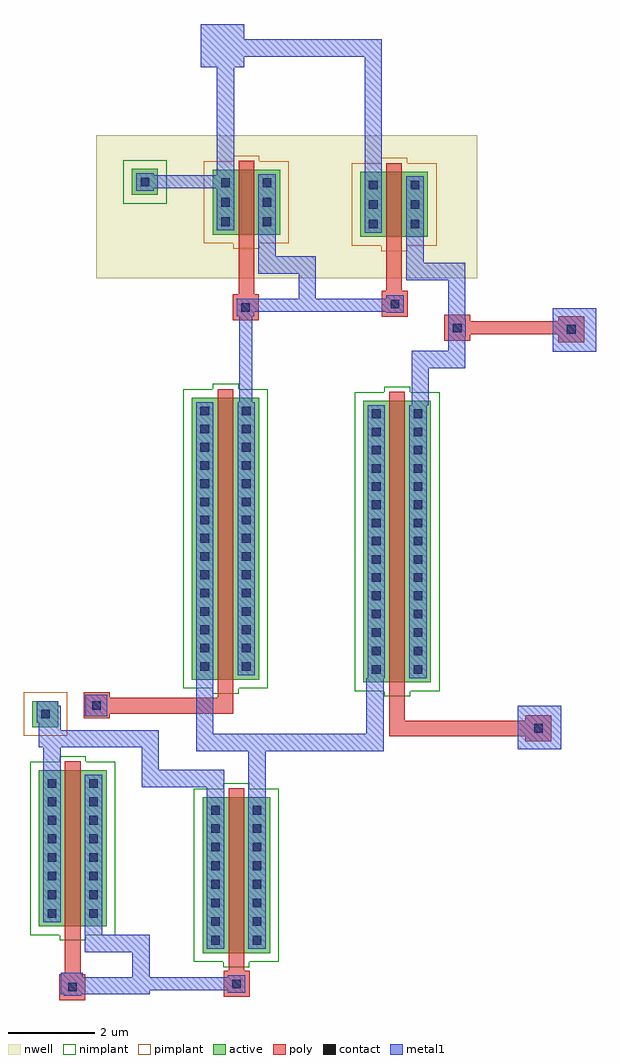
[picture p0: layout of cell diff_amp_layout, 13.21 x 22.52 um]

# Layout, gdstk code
import gdstk
lib = gdstk.Library(unit=1e-6, precision=5e-10)
def R(c, l, rs):  # rectangles x0, y0, x1, y1
    for r in rs: c.add(gdstk.rectangle(r[:2], r[2:], *l))
def A(c, l, x, y, w, h, nx, ny, dx, dy):  # array of equal rectangles
    R(c, l, [(x+i*dx, y+j*dy, x+i*dx+w, y+j*dy+h) for i in range(nx) for j in range(ny)])
active = (1, 0)
nwell = (2, 0)
poly = (3, 0)
nimplant = (4, 0)
pimplant = (5, 0)
contact = (6, 0)
metal1 = (7, 0)

nmos_cdns_787772240430 = lib.new_cell('nmos_CDNS_787772240430')
R(nmos_cdns_787772240430, active, [(-0.6,0,0,6.5), (0,0,0.36,6.5), (0.36,0,0.96,6.5)])
R(nmos_cdns_787772240430, poly, [(0,-0.205,0.36,-0.2), (0,-0.2,0.36,0), (0,0,0.36,6.5), (0,6.5,0.36,6.7), (0,6.7,0.36,6.705)])
R(nmos_cdns_787772240430, nimplant, [(-0.12,-0.325,0.48,-0.2), (-0.8,-0.2,1.16,6.7), (-0.12,6.7,0.48,6.825)])
A(nmos_cdns_787772240430, contact, -0.4, 0.2, 0.2, 0.2, 1, 5, 0, 0.425)
A(nmos_cdns_787772240430, contact, 0.56, 0.2, 0.2, 0.2, 1, 5, 0, 0.425)
A(nmos_cdns_787772240430, contact, -0.4, 2.32, 0.2, 0.2, 1, 10, 0, 0.42)
A(nmos_cdns_787772240430, contact, 0.56, 2.32, 0.2, 0.2, 1, 10, 0, 0.42)
R(nmos_cdns_787772240430, metal1, [(-0.5,0.1,-0.1,6.4), (0.46,0.1,0.86,6.4)])

nmos_cdns_787772240431 = lib.new_cell('nmos_CDNS_787772240431')
R(nmos_cdns_787772240431, active, [(-0.6,0,0,3.6), (0,0,0.36,3.6), (0.36,0,0.96,3.6)])
R(nmos_cdns_787772240431, poly, [(0,-0.205,0.36,-0.2), (0,-0.2,0.36,0), (0,0,0.36,3.6), (0,3.6,0.36,3.8), (0,3.8,0.36,3.805)])
R(nmos_cdns_787772240431, nimplant, [(-0.12,-0.325,0.48,-0.2), (-0.8,-0.2,1.16,3.8), (-0.12,3.8,0.48,3.925)])
A(nmos_cdns_787772240431, contact, -0.4, 0.2, 0.2, 0.2, 1, 6, 0, 0.43)
A(nmos_cdns_787772240431, contact, 0.56, 0.2, 0.2, 0.2, 1, 6, 0, 0.43)
R(nmos_cdns_787772240431, contact, [(-0.4,2.775,-0.2,2.975), (0.56,2.775,0.76,2.975), (-0.4,3.2,-0.2,3.4), (0.56,3.2,0.76,3.4)])
R(nmos_cdns_787772240431, metal1, [(-0.5,0.1,-0.1,3.5), (0.46,0.1,0.86,3.5)])

pmos_cdns_787772240432 = lib.new_cell('pmos_CDNS_787772240432')
R(pmos_cdns_787772240432, active, [(-0.6,0,0,1.5), (0,0,0.36,1.5), (0.36,0,0.96,1.5)])
R(pmos_cdns_787772240432, nwell, [(-1.1,-0.5,1.46,2)])
R(pmos_cdns_787772240432, poly, [(0,-0.205,0.36,-0.2), (0,-0.2,0.36,0), (0,0,0.36,1.5), (0,1.5,0.36,1.7), (0,1.7,0.36,1.705)])
R(pmos_cdns_787772240432, pimplant, [(-0.12,-0.325,0.48,-0.2), (-0.8,-0.2,1.16,1.7), (-0.12,1.7,0.48,1.825)])
A(pmos_cdns_787772240432, contact, -0.4, 0.2, 0.2, 0.2, 1, 3, 0, 0.45)
A(pmos_cdns_787772240432, contact, 0.56, 0.2, 0.2, 0.2, 1, 3, 0, 0.45)
R(pmos_cdns_787772240432, metal1, [(-0.5,0.1,-0.1,1.4), (0.46,0.1,0.86,1.4)])

m1_nwell_cdns_7877722404 = lib.new_cell('M1_NWELL_CDNS_787772240430')
R(m1_nwell_cdns_7877722404, active, [(-0.3,-0.3,0.3,0.3)])
R(m1_nwell_cdns_7877722404, nwell, [(-0.8,-0.8,0.8,0.8)])
R(m1_nwell_cdns_7877722404, nimplant, [(-0.5,-0.5,0.5,0.5)])
R(m1_nwell_cdns_7877722404, contact, [(-0.1,-0.1,0.1,0.1)])
R(m1_nwell_cdns_7877722404, metal1, [(-0.2,-0.2,0.2,0.2)])

m1_poly1_cdns_7877722404 = lib.new_cell('M1_POLY1_CDNS_787772240431')
R(m1_poly1_cdns_7877722404, poly, [(-0.3,-0.3,0.3,0.3)])
R(m1_poly1_cdns_7877722404, contact, [(-0.1,-0.1,0.1,0.1)])
R(m1_poly1_cdns_7877722404, metal1, [(-0.2,-0.2,0.2,0.2)])

m1_psub_cdns_78777224043 = lib.new_cell('M1_PSUB_CDNS_787772240432')
R(m1_psub_cdns_78777224043, active, [(-0.3,-0.3,0.3,0.3)])
R(m1_psub_cdns_78777224043, pimplant, [(-0.5,-0.5,0.5,0.5)])
R(m1_psub_cdns_78777224043, contact, [(-0.1,-0.1,0.1,0.1)])
R(m1_psub_cdns_78777224043, metal1, [(-0.2,-0.2,0.2,0.2)])

diff_amp_layout = lib.new_cell('diff_amp_layout')
R(diff_amp_layout, nwell, [(3.185,17.32,11.975,20.62)])
R(diff_amp_layout, metal1, [(2.365,0.79,2.865,1.29), (12.91,6.45,13.91,7.45), (1.81,7.055,2.31,7.555), (2.93,7.205,3.43,7.705), (13.72,15.62,14.72,16.62), (5.595,22.185,6.595,23.185)])
diff_amp_layout.add(gdstk.FlexPath([(2.16,6.69),(2.05,6.69)], 0.4, ends="extended", simple_path=True, layer=7, datatype=0))  # metal1
diff_amp_layout.add(gdstk.FlexPath([(2.16,7.255),(1.81,7.255)], 0.4, ends=(0.2, 0), simple_path=True, layer=7, datatype=0))  # metal1
diff_amp_layout.add(gdstk.FlexPath([(2.16,6.69),(2.16,7.255)], 0.4, ends="extended", simple_path=True, layer=7, datatype=0))  # metal1
diff_amp_layout.add(gdstk.FlexPath([(2.16,5.86),(2.16,6.69)], 0.4, ends=(0, 0.2), simple_path=True, layer=7, datatype=0))  # metal1
diff_amp_layout.add(gdstk.FlexPath([(2.05,6.69),(2.05,7.055)], 0.4, ends=(0.2, 0), simple_path=True, layer=7, datatype=0))  # metal1
diff_amp_layout.add(gdstk.FlexPath([(4.43,6.69),(2.16,6.69)], 0.4, ends="extended", simple_path=True, layer=7, datatype=0))  # metal1
diff_amp_layout.add(gdstk.FlexPath([(4.43,5.77),(4.43,6.69)], 0.4, ends="extended", simple_path=True, layer=7, datatype=0))  # metal1
diff_amp_layout.add(gdstk.FlexPath([(5.935,5.77),(4.43,5.77)], 0.4, ends="extended", simple_path=True, layer=7, datatype=0))  # metal1
diff_amp_layout.add(gdstk.FlexPath([(5.935,5.24),(5.935,5.77)], 0.4, ends=(0, 0.2), simple_path=True, layer=7, datatype=0))  # metal1
diff_amp_layout.add(gdstk.FlexPath([(4.215,1.03),(4.215,0.99)], 0.3, ends=(0.15, 0.2), simple_path=True, layer=7, datatype=0))  # metal1
diff_amp_layout.add(gdstk.FlexPath([(6.42,1.03),(4.215,1.03)], 0.3, ends=(0, 0.15), simple_path=True, layer=7, datatype=0))  # metal1
diff_amp_layout.add(gdstk.FlexPath([(3.12,2.46),(3.12,1.965)], 0.4, ends=(0, 0.2), simple_path=True, layer=7, datatype=0))  # metal1
diff_amp_layout.add(gdstk.FlexPath([(3.12,1.965),(4.215,1.965)], 0.4, ends="extended", simple_path=True, layer=7, datatype=0))  # metal1
diff_amp_layout.add(gdstk.FlexPath([(2.63,0.99),(2.63,0.96)], 0.4, ends=(0.2, 0), simple_path=True, layer=7, datatype=0))  # metal1
diff_amp_layout.add(gdstk.FlexPath([(4.215,1.965),(4.215,0.99)], 0.4, ends="extended", simple_path=True, layer=7, datatype=0))  # metal1
diff_amp_layout.add(gdstk.FlexPath([(4.215,0.99),(2.63,0.99)], 0.4, ends=(0.15, 0.2), simple_path=True, layer=7, datatype=0))  # metal1
diff_amp_layout.add(gdstk.FlexPath([(5.685,6.6),(6.895,6.6)], 0.4, ends="extended", simple_path=True, layer=7, datatype=0))  # metal1
diff_amp_layout.add(gdstk.FlexPath([(6.895,5.24),(6.895,6.6)], 0.4, ends=(0, 0.2), simple_path=True, layer=7, datatype=0))  # metal1
diff_amp_layout.add(gdstk.FlexPath([(9.615,6.6),(9.615,8.09)], 0.4, ends=(0.2, 0), simple_path=True, layer=7, datatype=0))  # metal1
diff_amp_layout.add(gdstk.FlexPath([(6.895,6.6),(9.615,6.6)], 0.4, ends="extended", simple_path=True, layer=7, datatype=0))  # metal1
diff_amp_layout.add(gdstk.FlexPath([(5.685,8.155),(5.685,6.6)], 0.4, ends=(0, 0.2), simple_path=True, layer=7, datatype=0))  # metal1
diff_amp_layout.add(gdstk.FlexPath([(10.66,15.44),(10.66,14.39)], 0.4, ends=(0.2, 0), simple_path=True, layer=7, datatype=0))  # metal1
diff_amp_layout.add(gdstk.FlexPath([(11.5,15.44),(10.66,15.44)], 0.4, ends="extended", simple_path=True, layer=7, datatype=0))  # metal1
diff_amp_layout.add(gdstk.FlexPath([(11.5,17.475),(11.5,15.44)], 0.4, ends="extended", simple_path=True, layer=7, datatype=0))  # metal1
diff_amp_layout.add(gdstk.FlexPath([(10.535,17.475),(11.5,17.475)], 0.4, ends="extended", simple_path=True, layer=7, datatype=0))  # metal1
diff_amp_layout.add(gdstk.FlexPath([(10.535,18.37),(10.535,17.475)], 0.4, ends=(0, 0.2), simple_path=True, layer=7, datatype=0))  # metal1
diff_amp_layout.add(gdstk.FlexPath([(6.63,16.645),(6.63,14.455)], 0.3, ends="flush", simple_path=True, layer=7, datatype=0))  # metal1
diff_amp_layout.add(gdstk.FlexPath([(6.63,16.695),(8.05,16.695)], 0.3, ends=(0.2, 0.2), simple_path=True, layer=7, datatype=0))  # metal1
diff_amp_layout.add(gdstk.FlexPath([(8.05,17.625),(8.05,16.695)], 0.4, ends=(0.2, 0.15), simple_path=True, layer=7, datatype=0))  # metal1
diff_amp_layout.add(gdstk.FlexPath([(7.125,17.625),(8.05,17.625)], 0.4, ends="extended", simple_path=True, layer=7, datatype=0))  # metal1
diff_amp_layout.add(gdstk.FlexPath([(7.125,18.42),(7.125,17.625)], 0.4, ends=(0, 0.2), simple_path=True, layer=7, datatype=0))  # metal1
diff_amp_layout.add(gdstk.FlexPath([(10.075,16.695),(10.075,16.725)], 0.3, ends=(0.15, 0), simple_path=True, layer=7, datatype=0))  # metal1
diff_amp_layout.add(gdstk.FlexPath([(8.05,16.695),(10.075,16.695)], 0.3, ends=(0.2, 0.15), simple_path=True, layer=7, datatype=0))  # metal1
diff_amp_layout.add(gdstk.FlexPath([(6.63,16.645),(6.63,16.695)], 0.4, ends=(0, 0.15), simple_path=True, layer=7, datatype=0))  # metal1
diff_amp_layout.add(gdstk.FlexPath([(9.575,19.67),(9.575,22.63)], 0.4, ends=(0, 0.2), simple_path=True, layer=7, datatype=0))  # metal1
diff_amp_layout.add(gdstk.FlexPath([(9.575,22.63),(6.595,22.63)], 0.4, ends=(0.2, 0), simple_path=True, layer=7, datatype=0))  # metal1
diff_amp_layout.add(gdstk.FlexPath([(6.165,19.72),(6.165,22.185)], 0.4, ends="flush", simple_path=True, layer=7, datatype=0))  # metal1
diff_amp_layout.add(gdstk.FlexPath([(4.305,19.54),(5.965,19.54)], 0.3, ends="flush", simple_path=True, layer=7, datatype=0))  # metal1
diff_amp_layout.add(gdstk.FlexPath([(14.145,16.17),(11.515,16.17)], 0.3, ends=(0.15, 0), simple_path=True, layer=3, datatype=0))  # poly
diff_amp_layout.add(gdstk.FlexPath([(14.145,16.14),(14.145,16.17)], 0.3, ends=(0, 0.15), simple_path=True, layer=3, datatype=0))  # poly
diff_amp_layout.add(gdstk.FlexPath([(3.19,7.45),(3.19,7.46)], 0.36, ends=(0.18, 0), simple_path=True, layer=3, datatype=0))  # poly
diff_amp_layout.add(gdstk.FlexPath([(6.165,7.45),(3.19,7.45)], 0.36, ends="extended", simple_path=True, layer=3, datatype=0))  # poly
diff_amp_layout.add(gdstk.FlexPath([(6.165,7.85),(6.165,7.45)], 0.36, ends=(0, 0.18), simple_path=True, layer=3, datatype=0))  # poly
diff_amp_layout.add(gdstk.FlexPath([(10.125,6.93),(13.385,6.93)], 0.36, ends=(0.18, 0), simple_path=True, layer=3, datatype=0))  # poly
diff_amp_layout.add(gdstk.FlexPath([(10.125,7.785),(10.125,6.93)], 0.36, ends=(0, 0.18), simple_path=True, layer=3, datatype=0))  # poly
diff_amp_layout.add(gdstk.FlexPath([(6.415,1.03),(6.42,1.03)], 0.36, ends=(0.18, 0), simple_path=True, layer=3, datatype=0))  # poly
diff_amp_layout.add(gdstk.FlexPath([(6.415,1.535),(6.415,1.03)], 0.36, ends=(0, 0.18), simple_path=True, layer=3, datatype=0))  # poly
diff_amp_layout.add(gdstk.FlexPath([(2.64,0.96),(2.64,2.155)], 0.36, ends=(0.18, 0), simple_path=True, layer=3, datatype=0))  # poly
diff_amp_layout.add(gdstk.FlexPath([(2.63,0.96),(2.64,0.96)], 0.36, ends=(0, 0.18), simple_path=True, layer=3, datatype=0))  # poly
diff_amp_layout.add(gdstk.FlexPath([(10.075,16.725),(10.055,16.725)], 0.36, ends=(0, 0.18), simple_path=True, layer=3, datatype=0))  # poly
diff_amp_layout.add(gdstk.FlexPath([(10.055,16.725),(10.055,18.065)], 0.36, ends=(0.18, 0), simple_path=True, layer=3, datatype=0))  # poly
diff_amp_layout.add(gdstk.FlexPath([(6.645,16.645),(6.63,16.645)], 0.36, ends=(0.18, 0), simple_path=True, layer=3, datatype=0))  # poly
diff_amp_layout.add(gdstk.FlexPath([(6.645,18.115),(6.645,16.645)], 0.36, ends=(0, 0.18), simple_path=True, layer=3, datatype=0))  # poly
diff_amp_layout.add(gdstk.Reference(nmos_cdns_787772240430, (9.945,7.99)))
diff_amp_layout.add(gdstk.Reference(nmos_cdns_787772240430, (5.985,8.055)))
diff_amp_layout.add(gdstk.Reference(nmos_cdns_787772240431, (2.46,2.36)))
diff_amp_layout.add(gdstk.Reference(nmos_cdns_787772240431, (6.235,1.74)))
diff_amp_layout.add(gdstk.Reference(pmos_cdns_787772240432, (9.875,18.27)))
diff_amp_layout.add(gdstk.Reference(pmos_cdns_787772240432, (6.465,18.32)))
diff_amp_layout.add(gdstk.Reference(m1_nwell_cdns_7877722404, (4.305,19.54)))
diff_amp_layout.add(gdstk.Reference(m1_poly1_cdns_7877722404, (11.515,16.17)))
diff_amp_layout.add(gdstk.Reference(m1_poly1_cdns_7877722404, (14.145,16.14)))
diff_amp_layout.add(gdstk.Reference(m1_poly1_cdns_7877722404, (3.19,7.46)))
diff_amp_layout.add(gdstk.Reference(m1_poly1_cdns_7877722404, (13.385,6.93)))
diff_amp_layout.add(gdstk.Reference(m1_poly1_cdns_7877722404, (6.42,1.03)))
diff_amp_layout.add(gdstk.Reference(m1_poly1_cdns_7877722404, (2.63,0.96)))
diff_amp_layout.add(gdstk.Reference(m1_poly1_cdns_7877722404, (10.075,16.725)))
diff_amp_layout.add(gdstk.Reference(m1_poly1_cdns_7877722404, (6.63,16.645)))
diff_amp_layout.add(gdstk.Reference(m1_psub_cdns_78777224043, (2.01,7.26)))

lib.write_gds('diff_amp_layout.gds')
